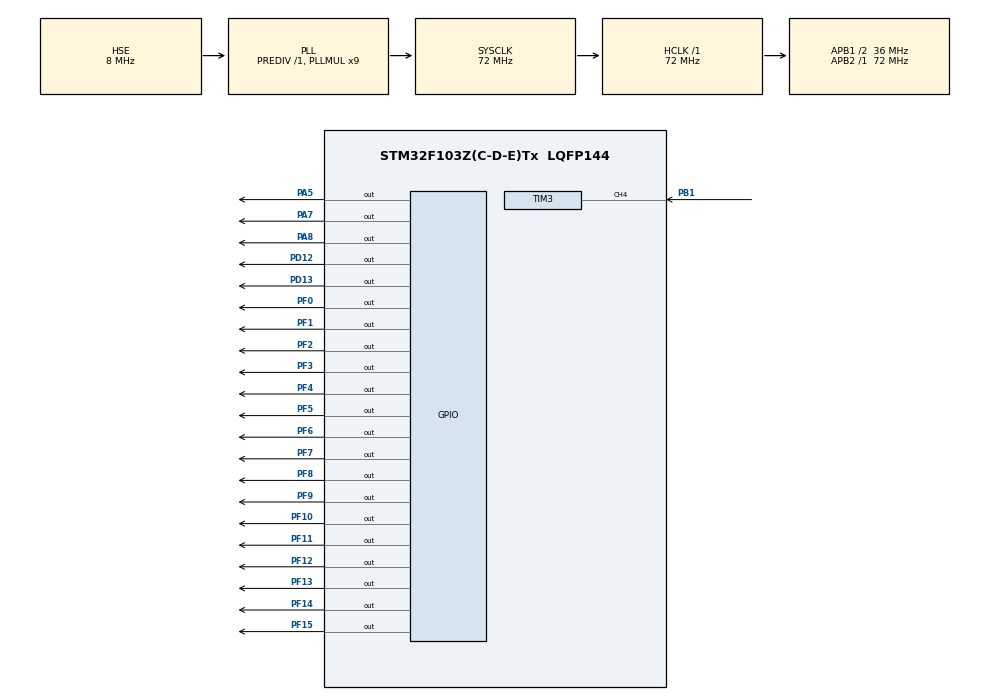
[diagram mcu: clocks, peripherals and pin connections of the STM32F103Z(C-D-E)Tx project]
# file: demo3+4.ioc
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Mcu.Family=STM32F1
Mcu.Name=STM32F103Z(C-D-E)Tx
Mcu.Package=LQFP144
NVIC.PriorityGroup=NVIC_PRIORITYGROUP_4
NVIC.TIM3_IRQn=true\:0\:0\:false\:false\:true\:true\:true\:true
OSC_IN.Mode=HSE-External-Oscillator
OSC_IN.Signal=RCC_OSC_IN
OSC_OUT.Mode=HSE-External-Oscillator
OSC_OUT.Signal=RCC_OSC_OUT
PA13.Mode=Serial_Wire
PA13.Signal=SYS_JTMS-SWDIO
PA14.Mode=Serial_Wire
PA14.Signal=SYS_JTCK-SWCLK
PA5.Signal=GPIO_Output
PA7.Signal=GPIO_Output
PA8.Signal=GPIO_Output
PB1.Signal=S_TIM3_CH4
PD12.Signal=GPIO_Output
PD13.Signal=GPIO_Output
PF0.Signal=GPIO_Output
PF1.Signal=GPIO_Output
PF10.Signal=GPIO_Output
PF11.Signal=GPIO_Output
PF12.Signal=GPIO_Output
PF13.Signal=GPIO_Output
PF14.Signal=GPIO_Output
PF15.Signal=GPIO_Output
PF2.Signal=GPIO_Output
PF3.Signal=GPIO_Output
PF4.Signal=GPIO_Output
PF5.Signal=GPIO_Output
PF6.Signal=GPIO_Output
PF7.Signal=GPIO_Output
PF8.Signal=GPIO_Output
PF9.Signal=GPIO_Output
ProjectManager.HeapSize=0x200
ProjectManager.StackSize=0x400
ProjectManager.TargetToolchain=MDK-ARM V5.32
RCC.AHBFreq_Value=72000000
RCC.APB1CLKDivider=RCC_HCLK_DIV2
RCC.APB1Freq_Value=36000000
RCC.APB1TimFreq_Value=72000000
RCC.APB2Freq_Value=72000000
RCC.APB2TimFreq_Value=72000000
RCC.HCLKFreq_Value=72000000
RCC.PLLMUL=RCC_PLL_MUL9
RCC.PLLSourceVirtual=RCC_PLLSOURCE_HSE
RCC.SYSCLKFreq_VALUE=72000000
RCC.SYSCLKSource=RCC_SYSCLKSOURCE_PLLCLK
RCC.USBFreq_Value=72000000
SH.S_TIM3_CH4.0=TIM3_CH4,Input_Capture4_from_TI4
TIM3.Channel-Input_Capture3_from_TI4_63=TIM_CHANNEL_3
TIM3.Channel-Input_Capture4_from_TI4=TIM_CHANNEL_4
TIM3.ICPolarity_CH3=TIM_INPUTCHANNELPOLARITY_FALLING
TIM3.Prescaler=72-1
VP_TIM3_VS_ClockSourceINT.Mode=Internal
VP_TIM3_VS_indirect_ch4.Mode=Input_Capture3_from_TI4_63
board=custom

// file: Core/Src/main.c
/* USER CODE BEGIN Header */
/**
  ******************************************************************************
  * @file           : main.c
  * @brief          : Main program body
  ******************************************************************************
  * @attention
  *
  * Copyright (c) 2025 STMicroelectronics.
  * All rights reserved.
  *
  * This software is licensed under terms that can be found in the LICENSE file
  * in the root directory of this software component.
  * If no LICENSE file comes with this software, it is provided AS-IS.
  *
  ******************************************************************************
  */
/* USER CODE END Header */
#include "main.h"
#include "tim.h"
#include "gpio.h"

/* USER CODE BEGIN Includes */
#include "Init_hardware.h"
/* USER CODE END Includes */

/* USER CODE BEGIN PV */
volatile uint32_t pulse_count = 0;  // 新增脉冲计数器
volatile uint32_t capture_value1 = 0, capture_value2 = 0;
volatile uint32_t period_ticks = 0;
volatile float frequency_hz = 0.0f;

/*数码管*/
volatile uint8_t  seg_buf[] = {0x00,0x00,0x00,0x00,0x00,0x00,0x00,0x00,0x00}; //BUF:SEG_DISP
/*串口数组*/
uint8_t receiveData[] = {0x00,0x00,0x00,0x00,0x00,0x00,0x00,0x00,0x00,0x00};
uint8_t transmitData[] = {0x00,0x00,0x00,0x00,0x00,0x00,0x00,0x00,0x00,0x00};

/* USER CODE END PV */

void SystemClock_Config(void);

/* USER CODE BEGIN 0 */
void HAL_TIM_IC_CaptureCallback(TIM_HandleTypeDef *htim) {
    if (htim->Instance == TIM3) {
        if (htim->Channel == HAL_TIM_ACTIVE_CHANNEL_3) {
            unsigned long value = HAL_TIM_ReadCapturedValue(htim, TIM_CHANNEL_3);

        }
        else if (htim->Channel == HAL_TIM_ACTIVE_CHANNEL_4) {
					 pulse_count++;
					//赋值
					seg_buf[8] = Seg_Table[pulse_count%10];
					seg_buf[7] = Seg_Table[pulse_count/10%10];
					seg_buf[6] = Seg_Table[pulse_count/100%10];
					seg_buf[5] = Seg_Table[pulse_count/1000%10];
					seg_buf[4] = Seg_Table[pulse_count/10000%10];
					seg_buf[3] = Seg_Table[pulse_count/100000%10];
					seg_buf[2] = Seg_Table[pulse_count/1000000%10];
					seg_buf[1] = Seg_Table[pulse_count/10000000%10];

					 capture_value2 = HAL_TIM_ReadCapturedValue(htim, TIM_CHANNEL_4);
		        period_ticks = (capture_value2 > capture_value1) ?
                      (capture_value2 - capture_value1) :
                      (0xFFFF - capture_value1 + capture_value2);
						capture_value1 = capture_value2;
						frequency_hz = 1000000.0f / period_ticks;

        }
    }
}
/* USER CODE END 0 */

int main(void)
{

  /* MCU Configuration--------------------------------------------------------*/

  /* Reset of all peripherals, Initializes the Flash interface and the Systick. */
  HAL_Init();

  /* Configure the system clock */
  SystemClock_Config();

  /* Initialize all configured peripherals */
  MX_GPIO_Init();
  MX_TIM3_Init();
  /* USER CODE BEGIN 2 */
	HAL_TIM_Base_Start(&htim3);
	HAL_TIM_IC_Start_IT(&htim3,TIM_CHANNEL_3);//输入捕获模式开启
	HAL_TIM_IC_Start_IT(&htim3,TIM_CHANNEL_4);

  /* USER CODE END 2 */

  /* Infinite loop */
  while (1)
  {

    /* USER CODE BEGIN 3 */
		for(int i = 1 ; i<= 8 ; i++){
			Seg_disp(seg_buf[i] , i);
		}

  }
  /* USER CODE END 3 */
}

void SystemClock_Config(void)
{
  RCC_OscInitTypeDef RCC_OscInitStruct = {0};
  RCC_ClkInitTypeDef RCC_ClkInitStruct = {0};

  /** Initializes the RCC Oscillators according to the specified parameters
  * in the RCC_OscInitTypeDef structure.
  */
  RCC_OscInitStruct.OscillatorType = RCC_OSCILLATORTYPE_HSE;
  RCC_OscInitStruct.HSEState = RCC_HSE_ON;
  RCC_OscInitStruct.HSEPredivValue = RCC_HSE_PREDIV_DIV1;
  RCC_OscInitStruct.HSIState = RCC_HSI_ON;
  RCC_OscInitStruct.PLL.PLLState = RCC_PLL_ON;
  RCC_OscInitStruct.PLL.PLLSource = RCC_PLLSOURCE_HSE;
  RCC_OscInitStruct.PLL.PLLMUL = RCC_PLL_MUL9;
  if (HAL_RCC_OscConfig(&RCC_OscInitStruct) != HAL_OK)
  {
    Error_Handler();
  }

  /** Initializes the CPU, AHB and APB buses clocks
  */
  RCC_ClkInitStruct.ClockType = RCC_CLOCKTYPE_HCLK|RCC_CLOCKTYPE_SYSCLK
                              |RCC_CLOCKTYPE_PCLK1|RCC_CLOCKTYPE_PCLK2;
  RCC_ClkInitStruct.SYSCLKSource = RCC_SYSCLKSOURCE_PLLCLK;
  RCC_ClkInitStruct.AHBCLKDivider = RCC_SYSCLK_DIV1;
  RCC_ClkInitStruct.APB1CLKDivider = RCC_HCLK_DIV2;
  RCC_ClkInitStruct.APB2CLKDivider = RCC_HCLK_DIV1;

  if (HAL_RCC_ClockConfig(&RCC_ClkInitStruct, FLASH_LATENCY_2) != HAL_OK)
  {
    Error_Handler();
  }
}

void Error_Handler(void)
{
  __disable_irq();
  while (1)
  {
  }
}
